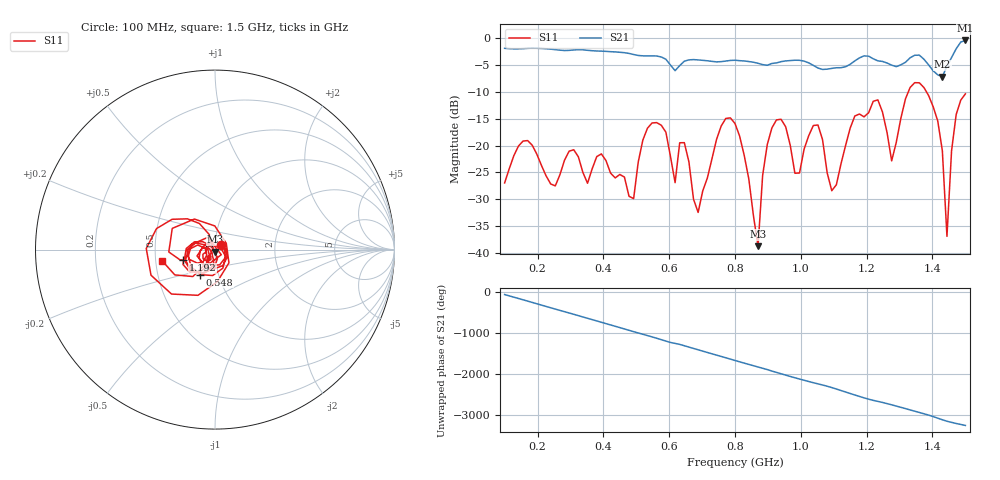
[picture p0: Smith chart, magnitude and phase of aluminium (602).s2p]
! NanoVNA-App
! Date: 2025-09-25 14:59:58
! Start: 100MHz Stop: 1,5GHz Points: 101
! S-Parameter data: F S11 S21 S12 S22
# Hz S RI R 50
!  Frequency  S11_Real  S11_Imag  S21_Real  S21_Imag  S12_Real  S12_Imag  S22_Real  S22_Imag
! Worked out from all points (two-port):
!   101 points, 100 MHz to 1.5 GHz, reference 50 ohm
!   highest |S21| = -0.46 dB at 1.5 GHz (marker M1); lowest = -7.2 dB at 1.43 GHz (marker M2)
!   |S21| within 3 dB of the highest: start of sweep to 570.4 MHz; 1.459 GHz to end of sweep (the widest 2 of 4)
!   lowest |S11| = -38.7 dB at 870 MHz (marker M3), VSWR 1.02, Z = 50.1 - j1.15 ohm
!   |S11| at or under -10 dB: start of sweep to 1.327 GHz; 1.382 GHz to end of sweep
!   S12 and S22 are empty: the file has one direction only
!   S11 on the Smith chart (normalised r, x): 100 MHz: 1.07, +0.06; 548 MHz: 0.82, -0.23; 1.192 GHz: 0.70, -0.08; 1.5 GHz: 0.54, -0.07
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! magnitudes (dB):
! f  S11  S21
! 100 MHz  -27.0  -1.9
! 156 MHz  -19.2  -2.0
! 338 MHz  -25.0  -2.2
! 492 MHz  -29.9  -3.1
! 548 MHz  -15.8  -3.3
! 576 MHz  -16.2  -3.5
! 646 MHz  -19.5  -4.3
! 688 MHz  -32.4  -4.1
! 800 MHz  -15.9  -4.1
! 870 MHz  -38.7  -4.7
! 912 MHz  -16.7  -4.7
! 996 MHz  -25.1  -4.1
! 1.038 GHz  -16.3  -5.1
! 1.094 GHz  -28.4  -5.7
! 1.192 GHz  -14.7  -3.3
! 1.234 GHz  -11.5  -4.3
! 1.276 GHz  -22.8  -5.1
! 1.346 GHz  -8.3  -3.2
! 1.43 GHz  -21.0  -7.2
! 1.444 GHz  -36.9  -5.3
! 1.472 GHz  -14.2  -2.0
! 1.5 GHz  -10.4  -0.5
